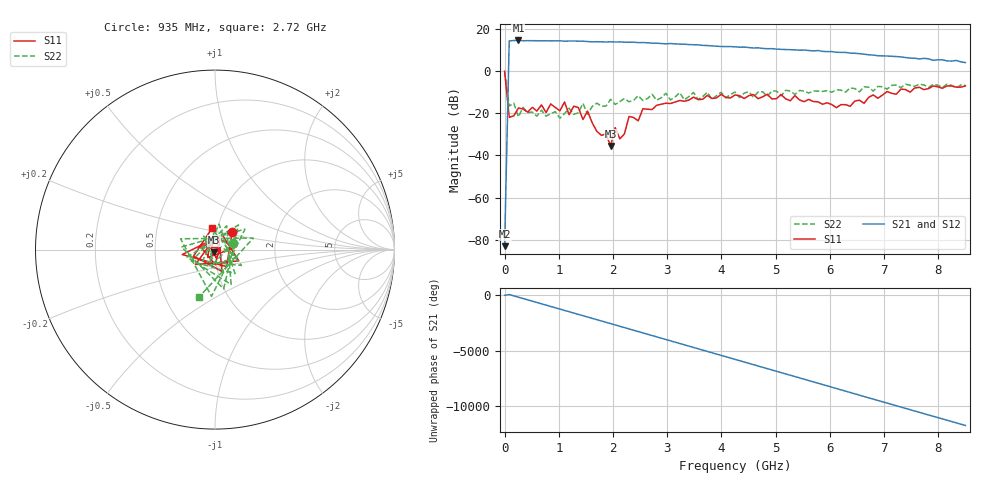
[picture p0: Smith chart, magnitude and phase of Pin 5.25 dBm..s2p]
! RsaToolbox (C) 2013 Rohde & Schwarz America
! Number of points: 101
! Number of ports: 2
! Balanced ports?: 0
# Hz S RI R 50
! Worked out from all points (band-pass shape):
!   101 points, 9 kHz to 8.5 GHz, reference 50 ohm
!   highest |S21| = 14.51 dB at 255 MHz (marker M1); lowest = -83.0 dB at 9 kHz (marker M2)
!   |S21| within 3 dB of the highest: 82.59 MHz to 4.236 GHz (4.153 GHz wide, 192 % of centre)
!   lowest |S11| = -35.5 dB at 1.955 GHz (marker M3), VSWR 1.03, Z = 49.5 - j1.59 ohm
!   |S11| at or under -10 dB: 38.59 MHz to 7.04 GHz (7.001 GHz wide, 198 % of centre); 7.085 GHz to 7.259 GHz (173.4 MHz wide, 2.42 % of centre); 7.479477 GHz to 7.480332 GHz (855.3 kHz wide, 0.0114 % of centre)
!   |S22| runs from -22.3 to 0.0 dB; largest |S21 - S12| = 0
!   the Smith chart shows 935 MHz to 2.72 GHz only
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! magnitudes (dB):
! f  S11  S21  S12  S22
! 9 kHz  -0.1  -83.0  -83.0  0.0
! 85.01 MHz  -21.9  14.3  14.3  -16.6
! 170 MHz  -21.2  14.5  14.5  -15.2
! 255 MHz  -17.5  14.5  14.5  -21.7
! 340 MHz  -18.0  14.4  14.4  -17.2
! 1.02 GHz  -18.8  14.3  14.3  -22.3
! 1.105 GHz  -14.7  14.1  14.1  -20.1
! 1.19 GHz  -20.7  14.2  14.2  -17.6
! 1.36 GHz  -17.3  14.2  14.2  -19.8
! 1.445 GHz  -23.0  14.1  14.1  -15.3
! 1.53 GHz  -19.0  14.0  14.0  -20.4
! 1.955 GHz  -35.5  13.9  13.9  -13.4
! 2.04 GHz  -26.8  13.8  13.8  -15.9
! 2.125 GHz  -32.1  13.8  13.8  -14.4
! 2.295 GHz  -21.5  13.6  13.6  -14.5
! 2.465 GHz  -23.6  13.5  13.5  -11.7
! 2.89 GHz  -15.7  13.1  13.1  -12.7
! 4.25 GHz  -11.3  11.5  11.5  -9.9
! 5.695 GHz  -14.4  9.5  9.5  -9.5
! 6.375 GHz  -16.7  8.5  8.5  -8.0
! 7.14 GHz  -10.5  7.0  7.0  -6.8
! 8.5 GHz  -7.1  4.0  4.0  -6.7
